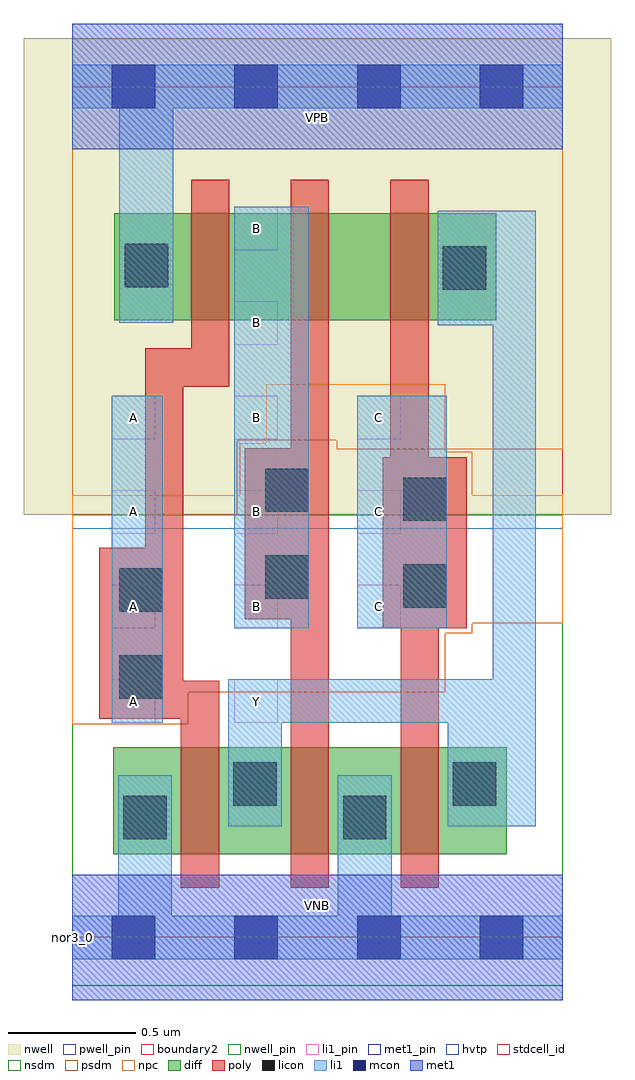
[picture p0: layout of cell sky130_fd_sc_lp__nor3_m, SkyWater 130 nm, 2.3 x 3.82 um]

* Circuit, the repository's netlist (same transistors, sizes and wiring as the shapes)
* Copyright 2020 The SkyWater PDK Authors
*
* Licensed under the Apache License, Version 2.0 (the "License");
* you may not use this file except in compliance with the License.
* You may obtain a copy of the License at
*
*     https://www.apache.org/licenses/LICENSE-2.0
*
* Unless required by applicable law or agreed to in writing, software
* distributed under the License is distributed on an "AS IS" BASIS,
* WITHOUT WARRANTIES OR CONDITIONS OF ANY KIND, either express or implied.
* See the License for the specific language governing permissions and
* limitations under the License.
*
* SPDX-License-Identifier: Apache-2.0

.SUBCKT sky130_fd_sc_lp__nor3_m A B C VGND VNB VPB VPWR Y
*.PININFO A:I B:I C:I VGND:I VNB:I VPB:I VPWR:I Y:O
MMP0 VPWR A sndPA VPB sky130_fd_pr__pfet_01v8_hvt m=1 w=0.42U l=0.15U mult=1 sa=0.265
+ sb=0.265 sd=0.28 area=0.063 perim=1.14
MMP1 sndPA B sndPB VPB sky130_fd_pr__pfet_01v8_hvt m=1 w=0.42U l=0.15U mult=1 sa=0.265
+ sb=0.265 sd=0.28 area=0.063 perim=1.14
MMP2 sndPB C Y VPB sky130_fd_pr__pfet_01v8_hvt m=1 w=0.42U l=0.15U mult=1 sa=0.265
+ sb=0.265 sd=0.28 area=0.063 perim=1.14
MMN0 Y A VGND VNB sky130_fd_pr__nfet_01v8 m=1 w=0.42U l=0.15U mult=1 sa=0.265 sb=0.265
+ sd=0.28 area=0.063 perim=1.14
MMN1 Y B VGND VNB sky130_fd_pr__nfet_01v8 m=1 w=0.42U l=0.15U mult=1 sa=0.265 sb=0.265
+ sd=0.28 area=0.063 perim=1.14
MMN2 Y C VGND VNB sky130_fd_pr__nfet_01v8 m=1 w=0.42U l=0.15U mult=1 sa=0.265 sb=0.265
+ sd=0.28 area=0.063 perim=1.14
.ENDS sky130_fd_sc_lp__nor3_m

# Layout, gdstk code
import gdstk
lib = gdstk.Library(unit=1e-6, precision=1e-09)
def R(c, l, rs):  # rectangles x0, y0, x1, y1
    for r in rs: c.add(gdstk.rectangle(r[:2], r[2:], *l))
def A(c, l, x, y, w, h, nx, ny, dx, dy):  # array of equal rectangles
    R(c, l, [(x+i*dx, y+j*dy, x+i*dx+w, y+j*dy+h) for i in range(nx) for j in range(ny)])
def P(c, l, *ps):  # polygons
    for p in ps: c.add(gdstk.Polygon(p, *l))
nwell_pin = (64, 16)
nwell = (64, 20)
diff = (65, 20)
poly = (66, 20)
licon = (66, 44)
li1_pin = (67, 16)
li1 = (67, 20)
mcon = (67, 44)
met1_pin = (68, 16)
met1 = (68, 20)
hvtp = (78, 44)
stdcell_id = (81, 4)
nsdm = (93, 44)
psdm = (94, 20)
npc = (95, 20)
pwell_pin = (122, 16)
boundary2 = (236, 0)

sky130_fd_sc_lp__nor3_m = lib.new_cell('sky130_fd_sc_lp__nor3_m')
R(sky130_fd_sc_lp__nor3_m, nwell_pin, [(0,3.085,1.92,3.33)])
R(sky130_fd_sc_lp__nor3_m, nwell, [(-0.19,1.655,2.11,3.52)])
R(sky130_fd_sc_lp__nor3_m, diff, [(0.16,0.325,1.7,0.745), (0.165,2.415,1.66,2.835)])
P(sky130_fd_sc_lp__nor3_m, poly, [(0.615,2.965),(0.465,2.965),(0.465,2.305),(0.285,2.305),(0.285,1.525),(0.105,1.525),(0.105,0.855),(0.425,0.855),(0.425,0.195),(0.575,0.195),(0.575,1.005),(0.435,1.005),(0.435,2.155),(0.615,2.155)],
  [(1.005,2.965),(0.855,2.965),(0.855,1.915),(0.675,1.915),(0.675,1.245),(0.855,1.245),(0.855,0.195),(1.005,0.195)],
  [(1.545,1.88),(1.395,1.88),(1.395,2.965),(1.245,2.965),(1.245,1.88),(1.215,1.88),(1.215,1.21),(1.285,1.21),(1.285,0.195),(1.435,0.195),(1.435,1.21),(1.545,1.21)])
R(sky130_fd_sc_lp__nor3_m, licon, [(0.2,0.385,0.37,0.555), (1.06,0.385,1.23,0.555), (0.63,0.515,0.8,0.685), (1.49,0.515,1.66,0.685), (0.185,0.935,0.355,1.105), (0.185,1.275,0.355,1.445), (1.295,1.29,1.465,1.46), (0.755,1.325,0.925,1.495), (1.295,1.63,1.465,1.8), (0.755,1.665,0.925,1.835), (1.45,2.535,1.62,2.705), (0.205,2.545,0.375,2.715)])
A(sky130_fd_sc_lp__nor3_m, li1_pin, 0.155, 1.21, 0.17, 0.17, 3, 3, 0.48, 0.37)
R(sky130_fd_sc_lp__nor3_m, li1_pin, [(0.155,0.84,0.325,1.01), (0.635,0.84,0.805,1.01), (0.635,2.32,0.805,2.49), (0.635,2.69,0.805,2.86)])
R(sky130_fd_sc_lp__nor3_m, li1, [(0.155,0.84,0.355,2.12), (0.635,1.21,0.925,2.86), (1.115,1.21,1.465,2.12)])
P(sky130_fd_sc_lp__nor3_m, li1, [(0.185,2.405),(0.185,3.245),(0,3.245),(0,3.415),(1.92,3.415),(1.92,3.245),(0.395,3.245),(0.395,2.405)],
  [(0.18,0.085),(0.18,0.635),(0.39,0.635),(0.39,0.085),(1.04,0.085),(1.04,0.635),(1.25,0.635),(1.25,0.085),(1.92,0.085),(1.92,-0.085),(0,-0.085),(0,0.085)],
  [(1.645,1.01),(1.645,2.395),(1.43,2.395),(1.43,2.845),(1.815,2.845),(1.815,0.435),(1.47,0.435),(1.47,0.84),(0.82,0.84),(0.82,0.435),(0.61,0.435),(0.61,1.01)])
A(sky130_fd_sc_lp__nor3_m, mcon, 0.155, -0.085, 0.17, 0.17, 4, 2, 0.48, 3.33)
R(sky130_fd_sc_lp__nor3_m, met1_pin, [(0,0,1.92,0.245), (0,3.085,1.92,3.33)])
R(sky130_fd_sc_lp__nor3_m, met1, [(0,-0.245,1.92,0.245), (0,3.085,1.92,3.575)])
R(sky130_fd_sc_lp__nor3_m, hvtp, [(0,1.6,1.92,3.33)])
R(sky130_fd_sc_lp__nor3_m, stdcell_id, [(0,0,1.92,3.33)])
R(sky130_fd_sc_lp__nor3_m, nsdm, [(0,-0.19,1.92,1.655)])
P(sky130_fd_sc_lp__nor3_m, psdm, [(1.92,3.52),(0,3.52),(0,1.655),(0.645,1.655),(0.645,1.945),(1.035,1.945),(1.035,1.91),(1.92,1.91)])
P(sky130_fd_sc_lp__nor3_m, npc, [(1.92,1.73),(1.565,1.73),(1.565,1.9),(1.46,1.9),(1.46,2.165),(0.76,2.165),(0.76,1.935),(0.655,1.935),(0.655,1.73),(0,1.73),(0,0.835),(0.455,0.835),(0.455,0.96),(1.46,0.96),(1.46,1.19),(1.565,1.19),(1.565,1.23),(1.92,1.23)])
R(sky130_fd_sc_lp__nor3_m, pwell_pin, [(0,0,1.92,0.245)])
R(sky130_fd_sc_lp__nor3_m, boundary2, [(0,0,1.92,3.33)])
sky130_fd_sc_lp__nor3_m.add(gdstk.Label('VNB', (0.96,0.123), layer=64, texttype=59))
sky130_fd_sc_lp__nor3_m.add(gdstk.Label('VPB', (0.96,3.208), layer=64, texttype=5))
sky130_fd_sc_lp__nor3_m.add(gdstk.Label('nor3_0', (0,0), layer=83, texttype=44))
sky130_fd_sc_lp__nor3_m.add(gdstk.Label('VPWR', (0.96,3.208), layer=68, texttype=5))
sky130_fd_sc_lp__nor3_m.add(gdstk.Label('VGND', (0.96,0.123), layer=68, texttype=5))
sky130_fd_sc_lp__nor3_m.add(gdstk.Label('A', (0.24,0.925), layer=67, texttype=5))
sky130_fd_sc_lp__nor3_m.add(gdstk.Label('A', (0.24,1.295), layer=67, texttype=5))
sky130_fd_sc_lp__nor3_m.add(gdstk.Label('A', (0.24,1.665), layer=67, texttype=5))
sky130_fd_sc_lp__nor3_m.add(gdstk.Label('A', (0.24,2.035), layer=67, texttype=5))
sky130_fd_sc_lp__nor3_m.add(gdstk.Label('B', (0.72,1.295), layer=67, texttype=5))
sky130_fd_sc_lp__nor3_m.add(gdstk.Label('B', (0.72,1.665), layer=67, texttype=5))
sky130_fd_sc_lp__nor3_m.add(gdstk.Label('B', (0.72,2.035), layer=67, texttype=5))
sky130_fd_sc_lp__nor3_m.add(gdstk.Label('B', (0.72,2.405), layer=67, texttype=5))
sky130_fd_sc_lp__nor3_m.add(gdstk.Label('B', (0.72,2.775), layer=67, texttype=5))
sky130_fd_sc_lp__nor3_m.add(gdstk.Label('C', (1.2,1.295), layer=67, texttype=5))
sky130_fd_sc_lp__nor3_m.add(gdstk.Label('C', (1.2,1.665), layer=67, texttype=5))
sky130_fd_sc_lp__nor3_m.add(gdstk.Label('C', (1.2,2.035), layer=67, texttype=5))
sky130_fd_sc_lp__nor3_m.add(gdstk.Label('Y', (0.72,0.925), layer=67, texttype=5))

lib.write_gds('sky130_fd_sc_lp__nor3_m.gds')
